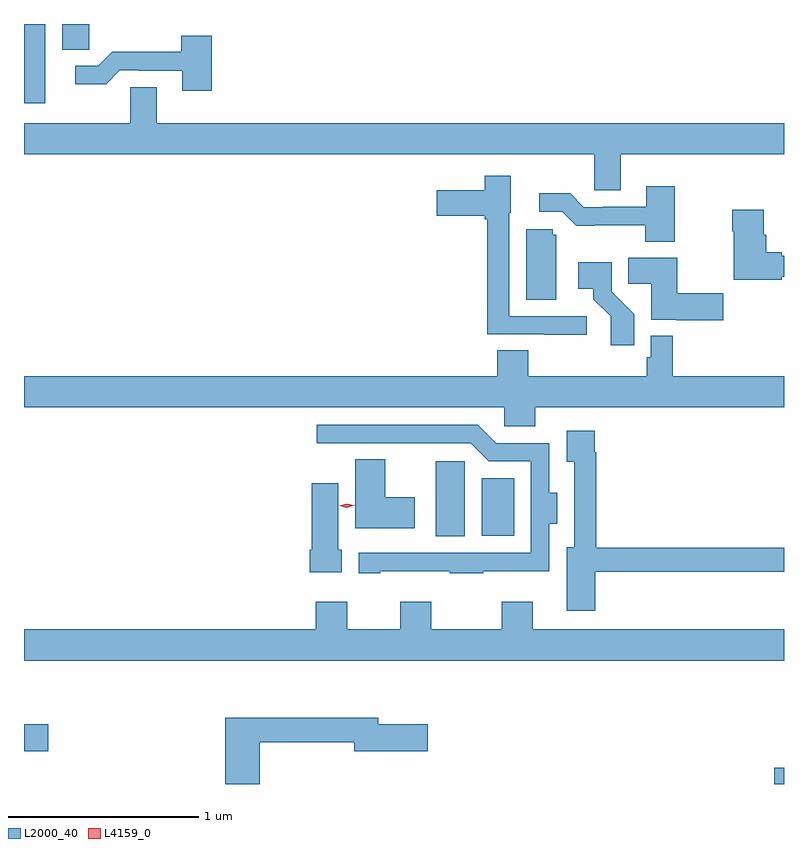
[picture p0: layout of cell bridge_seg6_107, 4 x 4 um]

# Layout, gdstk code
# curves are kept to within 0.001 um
import gdstk
lib = gdstk.Library(unit=1e-6, precision=1e-09)
def R(c, l, rs):  # rectangles x0, y0, x1, y1
    for r in rs: c.add(gdstk.rectangle(r[:2], r[2:], *l))
def P(c, l, *ps):  # polygons
    for p in ps: c.add(gdstk.Polygon(p, *l))
L2000_40 = (2000, 40)
L4159_0 = (4159, 0)

bridge_seg6_107 = lib.new_cell('bridge_seg6_107')
R(bridge_seg6_107, L2000_40, [(464.592,982.65,464.643,982.735), (460.643,982.823,460.771,982.965), (462.809,983.953,462.964,984.349), (463.052,983.957,463.222,984.259)])
P(bridge_seg6_107, L2000_40, [(460.756,986.454),(460.755,986.454),(460.755,986.65),(460.643,986.65),(460.643,986.232),(460.756,986.232)],
  [(460.986,986.626),(460.987,986.626),(460.987,986.65),(460.844,986.65),(460.844,986.515),(460.986,986.515)],
  [(461.63,986.587),(461.47,986.587),(461.47,986.503),(461.107,986.503),(461.034,986.43),(460.914,986.43),(460.914,986.333),(461.075,986.333),(461.148,986.406),(461.248,986.406),(461.248,986.403),(461.477,986.403),(461.477,986.298),(461.63,986.298)],
  [(463.783,985.964),(464.643,985.964),(464.643,986.128),(461.341,986.128),(461.341,986.318),(461.202,986.318),(461.202,986.128),(460.643,986.128),(460.643,985.964),(463.644,985.964),(463.644,985.774),(463.783,985.774)],
  [(463.606,985.113),(463.197,985.113),(463.197,985.656),(463.204,985.656),(463.204,985.852),(463.068,985.852),(463.068,985.774),(462.816,985.774),(462.816,985.64),(463.068,985.64),(463.068,985.622),(463.081,985.622),(463.081,985.017),(463.381,985.017),(463.381,985.015),(463.606,985.015)],
  [(464.067,985.795),(463.919,985.795),(463.919,985.689),(463.69,985.689),(463.69,985.686),(463.59,985.686),(463.517,985.759),(463.356,985.759),(463.356,985.662),(463.476,985.662),(463.549,985.589),(463.912,985.59),(463.912,985.505),(464.067,985.505)],
  [(464.632,985.32),(464.643,985.32),(464.643,985.429),(464.632,985.429),(464.632,985.448),(464.549,985.448),(464.549,985.542),(464.536,985.542),(464.536,985.672),(464.371,985.672),(464.371,985.559),(464.378,985.559),(464.378,985.304),(464.632,985.304)],
  [(463.444,985.542),(463.425,985.542),(463.425,985.569),(463.286,985.569),(463.286,985.198),(463.444,985.198)],
  [(464.323,985.232),(464.08,985.232),(464.08,985.42),(463.822,985.42),(463.822,985.282),(463.943,985.282),(463.943,985.094),(464.076,985.094),(464.076,985.09),(464.323,985.09)],
  [(463.856,985.122),(463.737,985.241),(463.737,985.396),(463.56,985.396),(463.56,985.256),(463.64,985.256),(463.64,985.201),(463.731,985.111),(463.731,984.96),(463.856,984.96)],
  [(463.334,984.632),(464.643,984.632),(464.643,984.796),(464.057,984.796),(464.057,985.009),(463.941,985.009),(463.941,984.897),(463.921,984.897),(463.921,984.796),(463.298,984.796),(463.298,984.932),(463.133,984.932),(463.133,984.796),(460.643,984.796),(460.643,984.632),(463.17,984.632),(463.17,984.534),(463.334,984.534)],
  [(462.517,983.771),(462.883,983.771),(462.883,983.76),(463.061,983.76),(463.061,983.771),(463.407,983.771),(463.407,984.02),(463.45,984.02),(463.45,984.184),(463.408,984.184),(463.408,984.444),(463.128,984.444),(463.032,984.54),(462.183,984.54),(462.183,984.444),(462.993,984.444),(463.089,984.348),(463.311,984.348),(463.311,983.868),(462.405,983.868),(462.405,983.76),(462.517,983.76)],
  [(463.649,983.766),(464.643,983.766),(464.643,983.894),(463.655,983.894),(463.655,984.395),(463.648,984.395),(463.648,984.508),(463.499,984.508),(463.499,984.347),(463.539,984.347),(463.539,983.896),(463.499,983.896),(463.499,983.562),(463.649,983.562)],
  [(462.7,984.16),(462.544,984.16),(462.544,984.359),(462.386,984.359),(462.386,983.996),(462.7,983.996)],
  [(462.316,983.883),(462.298,983.883),(462.298,984.232),(462.158,984.232),(462.158,983.883),(462.146,983.883),(462.146,983.765),(462.316,983.765)],
  [(464.643,983.464),(463.321,983.464),(463.321,983.608),(463.157,983.608),(463.157,983.464),(462.787,983.464),(462.787,983.608),(462.623,983.608),(462.623,983.464),(462.343,983.464),(462.343,983.608),(462.179,983.608),(462.179,983.464),(460.643,983.464),(460.643,983.3),(464.643,983.3)],
  [(461.885,982.87),(462.38,982.87),(462.38,982.823),(462.769,982.823),(462.769,982.965),(462.508,982.965),(462.508,982.999),(461.702,982.999),(461.702,982.65),(461.885,982.65)])
P(bridge_seg6_107, L4159_0, [(462.342,984.105),(462.301,984.114),(462.301,984.114),(462.301,984.114),(462.341,984.125),(462.382,984.116),(462.383,984.116),(462.382,984.116)])

lib.write_gds('bridge_seg6_107.gds')
